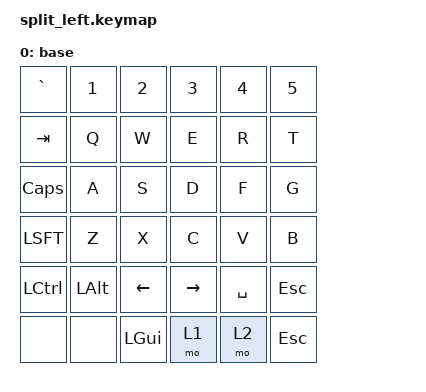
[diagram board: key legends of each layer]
#include <dt-bindings/zmk/bt.h>

/ {
    keymap {
        compatible = "zmk,keymap";
        layers = <&base>;

        base {
            bindings = <
                &kp GRAVE  &kp N1   &kp N2   &kp N3   &kp N4    &kp N5
                &kp TAB    &kp Q    &kp W    &kp E    &kp R     &kp T
                &kp CAPS   &kp A    &kp S    &kp D    &kp F     &kp G
                &kp LSFT   &kp Z    &kp X    &kp C    &kp V     &kp B
                &kp LCTRL  &kp LALT &kp LEFT &kp RIGHT &kp SPACE &kp ESC
                &none      &none    &kp LGUI &mo 1    &mo 2     &kp ESC
            >;
        };
    };
};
